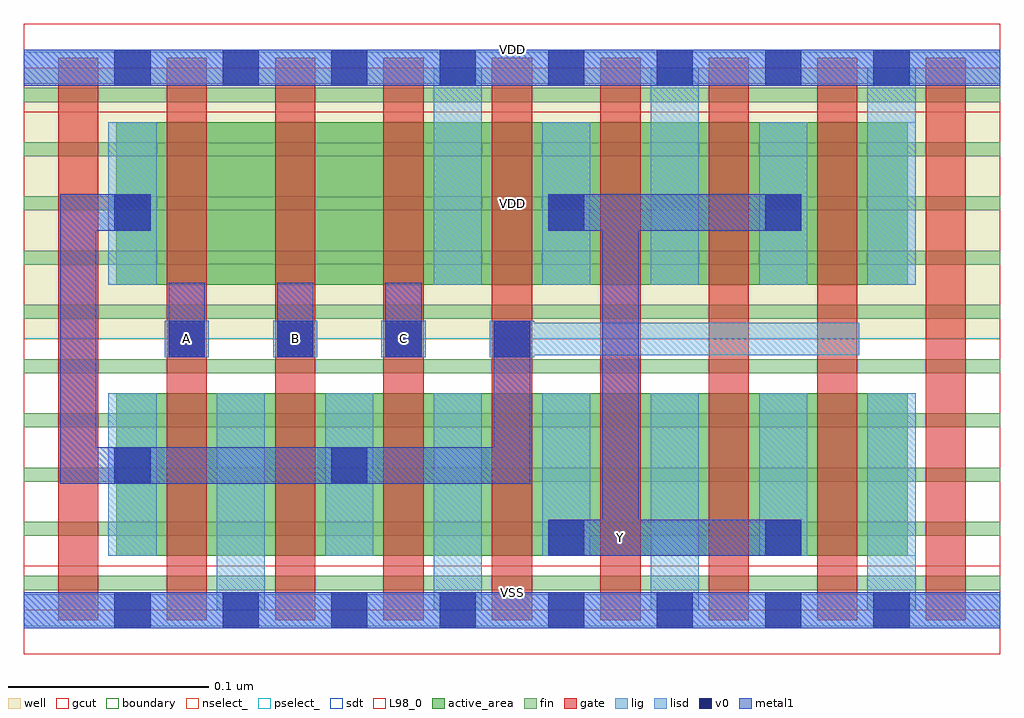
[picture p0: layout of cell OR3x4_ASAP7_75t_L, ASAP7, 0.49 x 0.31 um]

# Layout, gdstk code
import gdstk
lib = gdstk.Library(unit=1e-6, precision=2.5e-10)
def R(c, l, rs):  # rectangles x0, y0, x1, y1
    for r in rs: c.add(gdstk.rectangle(r[:2], r[2:], *l))
def A(c, l, x, y, w, h, nx, ny, dx, dy):  # array of equal rectangles
    R(c, l, [(x+i*dx, y+j*dy, x+i*dx+w, y+j*dy+h) for i in range(nx) for j in range(ny)])
def P(c, l, *ps):  # polygons
    for p in ps: c.add(gdstk.Polygon(p, *l))
well = (1, 0)
fin = (2, 0)
gate = (7, 0)
gcut = (10, 0)
active_area = (11, 0)
nselect_ = (12, 0)
pselect_ = (13, 0)
lig = (16, 0)
lisd = (17, 0)
v0 = (18, 0)
metal1 = (19, 0)
sdt = (88, 0)
L98_0 = (98, 0)
boundary = (100, 0)

or3x4_asap7_75t_l = lib.new_cell('OR3x4_ASAP7_75t_L')
R(or3x4_asap7_75t_l, well, [(0,0.135,0.486,0.27)])
A(or3x4_asap7_75t_l, fin, 0, 0.01, 0.486, 0.007, 1, 10, 0, 0.027)
A(or3x4_asap7_75t_l, gate, 0.017, -0.005, 0.02, 0.28, 9, 1, 0.054, 0)
R(or3x4_asap7_75t_l, gcut, [(0,-0.022,0.486,0.022), (0,0.248,0.486,0.292)])
R(or3x4_asap7_75t_l, active_area, [(0.046,0.027,0.44,0.108), (0.046,0.162,0.44,0.243)])
R(or3x4_asap7_75t_l, nselect_, [(0,0,0.486,0.135)])
R(or3x4_asap7_75t_l, pselect_, [(0,0.135,0.486,0.27)])
A(or3x4_asap7_75t_l, lig, 0.07, 0.126, 0.022, 0.018, 4, 1, 0.054, 0)
R(or3x4_asap7_75t_l, lig, [(0,-0.008,0.486,0.008), (0.232,0.127,0.416,0.143), (0,0.262,0.486,0.278)])
A(or3x4_asap7_75t_l, lisd, 0.042, 0.027, 0.024, 0.081, 4, 1, 0.108, 0)
R(or3x4_asap7_75t_l, lisd, [(0.096,0,0.12,0.108), (0.096,0,0.12,0.108), (0.204,0,0.228,0.108), (0.204,0,0.228,0.108), (0.312,0,0.336,0.108), (0.312,0,0.336,0.108), (0.42,0,0.444,0.108), (0.42,0,0.444,0.108), (0.042,0.162,0.066,0.243), (0.204,0.162,0.228,0.27), (0.204,0.162,0.228,0.27), (0.258,0.162,0.282,0.243), (0.312,0.162,0.336,0.27), (0.312,0.162,0.336,0.27), (0.366,0.162,0.39,0.243), (0.42,0.162,0.444,0.27), (0.42,0.162,0.444,0.27)])
A(or3x4_asap7_75t_l, v0, 0.045, -0.009, 0.018, 0.018, 8, 2, 0.054, 0.27)
A(or3x4_asap7_75t_l, v0, 0.072, 0.126, 0.018, 0.018, 4, 1, 0.054, 0)
R(or3x4_asap7_75t_l, v0, [(0.261,0.027,0.279,0.045), (0.369,0.027,0.387,0.045), (0.045,0.063,0.063,0.081), (0.153,0.063,0.171,0.081), (0.045,0.189,0.063,0.207), (0.261,0.189,0.279,0.207), (0.369,0.189,0.387,0.207)])
A(or3x4_asap7_75t_l, metal1, 0.072, 0.126, 0.018, 0.018, 4, 1, 0.054, 0)
A(or3x4_asap7_75t_l, metal1, 0.072, 0.126, 0.018, 0.037, 3, 1, 0.054, 0)
R(or3x4_asap7_75t_l, metal1, [(0,-0.009,0.486,0.009), (0.261,0.027,0.279,0.045), (0.369,0.027,0.387,0.045), (0.045,0.063,0.063,0.081), (0.153,0.063,0.171,0.081), (0.045,0.189,0.063,0.207), (0.261,0.189,0.279,0.207), (0.369,0.189,0.387,0.207), (0,0.261,0.486,0.279)])
P(or3x4_asap7_75t_l, metal1, [(0.234,0.144),(0.234,0.081),(0.036,0.081),(0.036,0.189),(0.063,0.189),(0.063,0.207),(0.018,0.207),(0.018,0.063),(0.252,0.063),(0.252,0.144)],
  [(0.387,0.207),(0.261,0.207),(0.261,0.189),(0.288,0.189),(0.288,0.045),(0.261,0.045),(0.261,0.027),(0.387,0.027),(0.387,0.045),(0.306,0.045),(0.306,0.189),(0.387,0.189)])
A(or3x4_asap7_75t_l, sdt, 0.096, 0.027, 0.024, 0.081, 3, 1, 0.054, 0)
A(or3x4_asap7_75t_l, sdt, 0.204, 0.027, 0.024, 0.081, 3, 2, 0.054, 0.135)
A(or3x4_asap7_75t_l, sdt, 0.312, 0.027, 0.024, 0.081, 3, 2, 0.054, 0.135)
R(or3x4_asap7_75t_l, sdt, [(0.042,0.027,0.066,0.108), (0.096,0.027,0.12,0.108), (0.42,0.027,0.444,0.108), (0.042,0.162,0.066,0.243), (0.204,0.162,0.228,0.243), (0.42,0.162,0.444,0.243)])
R(or3x4_asap7_75t_l, L98_0, [(0,0,0.486,0.27)])
R(or3x4_asap7_75t_l, boundary, [(0,0,0.486,0.27)])
or3x4_asap7_75t_l.add(gdstk.Label('VDD', (0.243,0.2025), layer=1, texttype=251))
or3x4_asap7_75t_l.add(gdstk.Label('VSS', (0.243,-0.0675), layer=3, texttype=251))
or3x4_asap7_75t_l.add(gdstk.Label('VSS', (0.243,0.009), layer=19, texttype=251))
or3x4_asap7_75t_l.add(gdstk.Label('VDD', (0.243,0.279), layer=19, texttype=251))
or3x4_asap7_75t_l.add(gdstk.Label('A', (0.081,0.135), layer=19, texttype=251))
or3x4_asap7_75t_l.add(gdstk.Label('B', (0.135,0.135), layer=19, texttype=251))
or3x4_asap7_75t_l.add(gdstk.Label('C', (0.189,0.135), layer=19, texttype=251))
or3x4_asap7_75t_l.add(gdstk.Label('Y', (0.297,0.036), layer=19, texttype=251))

lib.write_gds('OR3x4_ASAP7_75t_L.gds')
